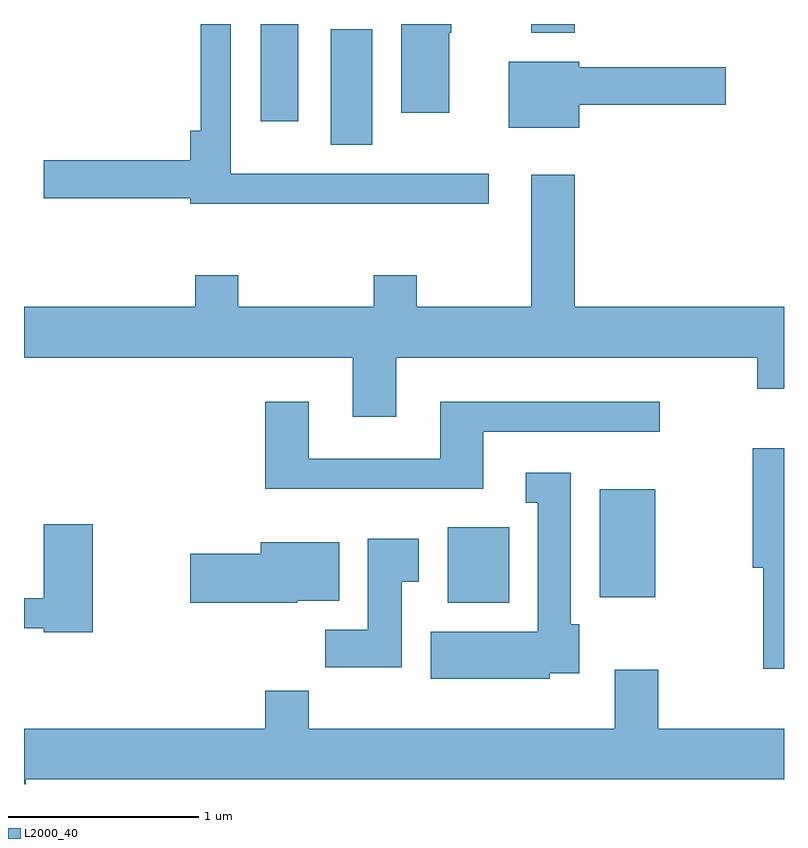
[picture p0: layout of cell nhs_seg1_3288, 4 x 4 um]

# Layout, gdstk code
import gdstk
lib = gdstk.Library(unit=1e-6, precision=1e-09)
def R(c, l, rs):  # rectangles x0, y0, x1, y1
    for r in rs: c.add(gdstk.rectangle(r[:2], r[2:], *l))
def P(c, l, *ps):  # polygons
    for p in ps: c.add(gdstk.Polygon(p, *l))
L2000_40 = (2000, 40)

nhs_seg1_3288 = lib.new_cell('nhs_seg1_3288')
R(nhs_seg1_3288, L2000_40, [(285.841,962.666,286.164,963.064), (286.641,962.696,286.934,963.264), (285.226,965.076,285.444,965.684), (284.856,965.201,285.054,965.712), (286.281,965.666,286.509,965.712)])
P(nhs_seg1_3288, L2000_40, [(286.058,964.924),(284.699,964.924),(284.699,965.712),(284.541,965.712),(284.541,965.149),(284.486,965.149),(284.486,964.994),(283.716,964.994),(283.716,964.796),(284.486,964.796),(284.486,964.766),(286.058,964.766)],
  [(285.849,965.665),(285.859,965.665),(285.859,965.712),(285.596,965.712),(285.596,965.246),(285.849,965.246)],
  [(286.534,965.286),(287.304,965.286),(287.304,965.484),(286.534,965.484),(286.534,965.514),(286.161,965.514),(286.161,965.166),(286.534,965.166)],
  [(285.569,963.956),(287.471,963.956),(287.471,963.791),(287.611,963.791),(287.611,964.224),(286.509,964.224),(286.509,964.919),(286.281,964.919),(286.281,964.224),(285.679,964.224),(285.679,964.389),(285.451,964.389),(285.451,964.224),(284.739,964.224),(284.739,964.389),(284.511,964.389),(284.511,964.224),(283.611,964.224),(283.611,963.956),(285.341,963.956),(285.341,963.646),(285.569,963.646)],
  [(286.029,963.566),(286.958,963.566),(286.958,963.724),(285.801,963.724),(285.801,963.424),(285.109,963.424),(285.109,963.724),(284.881,963.724),(284.881,963.266),(286.029,963.266)],
  [(287.611,963.479),(287.446,963.479),(287.446,962.851),(287.501,962.851),(287.501,962.318),(287.611,962.318)],
  [(286.379,962.296),(286.534,962.296),(286.534,962.554),(286.489,962.554),(286.489,963.349),(286.253,963.349),(286.253,963.191),(286.316,963.191),(286.316,962.514),(285.751,962.514),(285.751,962.266),(286.379,962.266)],
  [(283.974,963.079),(283.716,963.079),(283.716,962.689),(283.611,962.689),(283.611,962.531),(283.716,962.531),(283.716,962.511),(283.974,962.511)],
  [(285.599,962.776),(285.689,962.776),(285.689,963.004),(285.421,963.004),(285.421,962.524),(285.196,962.524),(285.196,962.326),(285.599,962.326)],
  [(285.05,962.676),(285.269,962.676),(285.269,962.984),(284.856,962.984),(284.856,962.924),(284.486,962.924),(284.486,962.666),(285.05,962.666)],
  [(283.619,961.736),(287.611,961.736),(287.611,962.004),(286.949,962.004),(286.949,962.314),(286.721,962.314),(286.721,962.004),(285.109,962.004),(285.109,962.204),(284.881,962.204),(284.881,962.004),(283.611,962.004),(283.611,961.712),(283.619,961.712)])

lib.write_gds('nhs_seg1_3288.gds')
